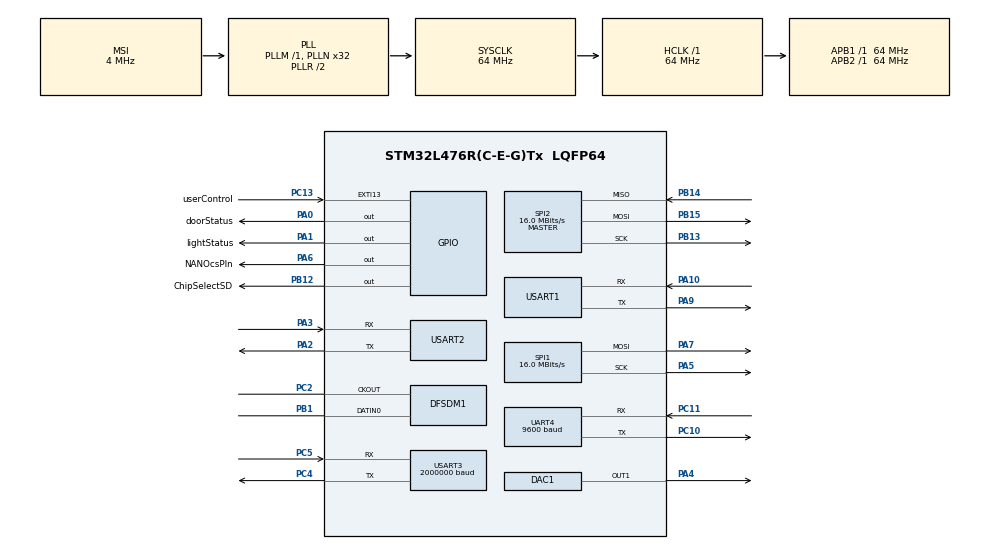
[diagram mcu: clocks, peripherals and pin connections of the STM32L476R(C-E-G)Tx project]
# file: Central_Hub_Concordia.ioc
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DFSDM1.Divider=31
DFSDM1.DmaMode_reg_FIL1=ENABLE
DFSDM1.FastMode_reg_FIL1=ENABLE
DFSDM1.Filter_regChannel_FIL0=__NULL
DFSDM1.Filter_regChannel_FIL1=DFSDM_CHANNEL_0
DFSDM1.Fosr_FIL1=125
DFSDM1.Oversampling_CH0=1
DFSDM1.RightBitShift_CH0=0x02
DFSDM1.SincOrder_FIL1=DFSDM_FILTER_SINC3_ORDER
DFSDM1.Type_spi_CH0=DFSDM_CHANNEL_SPI_RISING
Dma.DFSDM1_FLT1.0.Direction=DMA_PERIPH_TO_MEMORY
Dma.DFSDM1_FLT1.0.Instance=DMA1_Channel5
Dma.DFSDM1_FLT1.0.MemDataAlignment=DMA_MDATAALIGN_WORD
Dma.DFSDM1_FLT1.0.MemInc=DMA_MINC_ENABLE
Dma.DFSDM1_FLT1.0.Mode=DMA_CIRCULAR
Dma.DFSDM1_FLT1.0.PeriphDataAlignment=DMA_PDATAALIGN_WORD
Dma.DFSDM1_FLT1.0.PeriphInc=DMA_PINC_DISABLE
Dma.DFSDM1_FLT1.0.Priority=DMA_PRIORITY_HIGH
Dma.Request0=DFSDM1_FLT1
FATFS._MAX_SS=4096
FATFS._USE_LFN=1
Mcu.Family=STM32L4
Mcu.Name=STM32L476R(C-E-G)Tx
Mcu.Package=LQFP64
NVIC.DMA1_Channel5_IRQn=true\:0\:0\:false\:false\:true\:false\:true\:true
NVIC.EXTI15_10_IRQn=true\:2\:0\:true\:false\:true\:true\:true\:true
NVIC.PriorityGroup=NVIC_PRIORITYGROUP_4
NVIC.TIM2_IRQn=true\:0\:0\:true\:false\:true\:true\:true\:true
NVIC.TIM3_IRQn=true\:0\:0\:false\:false\:true\:true\:true\:true
NVIC.TIM6_DAC_IRQn=true\:0\:0\:false\:false\:true\:true\:true\:true
NVIC.UART4_IRQn=true\:0\:0\:false\:false\:true\:true\:true\:true
NVIC.USART1_IRQn=true\:0\:0\:false\:false\:true\:true\:true\:true
NVIC.USART3_IRQn=true\:0\:0\:false\:false\:true\:true\:true\:true
PA0.GPIO_Label=doorStatus
PA0.Signal=GPIO_Output
PA1.GPIO_Label=lightStatus
PA1.Signal=GPIO_Output
PA10.Mode=Asynchronous
PA10.Signal=USART1_RX
PA13\ (JTMS-SWDIO).Mode=Serial_Wire
PA13\ (JTMS-SWDIO).Signal=SYS_JTMS-SWDIO
PA14\ (JTCK-SWCLK).Mode=Serial_Wire
PA14\ (JTCK-SWCLK).Signal=SYS_JTCK-SWCLK
PA2.Mode=Asynchronous
PA2.Signal=USART2_TX
PA3.Mode=Asynchronous
PA3.Signal=USART2_RX
PA4.Signal=COMP_DAC11_group
PA5.Mode=TX_Only_Simplex_Unidirect_Master
PA5.Signal=SPI1_SCK
PA6.GPIO_Label=NANOcsPIn
PA6.Signal=GPIO_Output
PA7.Mode=TX_Only_Simplex_Unidirect_Master
PA7.Signal=SPI1_MOSI
PA9.Mode=Asynchronous
PA9.Signal=USART1_TX
PB1.Signal=S_DATAIN0DFSDM1
PB12.GPIO_Label=ChipSelectSD
PB12.Signal=GPIO_Output
PB13.Mode=Full_Duplex_Master
PB13.Signal=SPI2_SCK
PB14.Mode=Full_Duplex_Master
PB14.Signal=SPI2_MISO
PB15.Mode=Full_Duplex_Master
PB15.Signal=SPI2_MOSI
PC10.Mode=Asynchronous
PC10.Signal=UART4_TX
PC11.Mode=Asynchronous
PC11.Signal=UART4_RX
PC13.GPIO_Label=userControl
PC13.Signal=GPXTI13
PC2.Signal=S_CKOUTDFSDM1
PC4.Mode=Asynchronous
PC4.Signal=USART3_TX
PC5.Mode=Asynchronous
PC5.Signal=USART3_RX
PH0-OSC_IN\ (PH0).Mode=HSE-External-Oscillator
PH0-OSC_IN\ (PH0).Signal=RCC_OSC_IN
PH1-OSC_OUT\ (PH1).Mode=HSE-External-Oscillator
PH1-OSC_OUT\ (PH1).Signal=RCC_OSC_OUT
ProjectManager.HeapSize=0x200
ProjectManager.StackSize=0x5000
ProjectManager.TargetToolchain=STM32CubeIDE
RCC.AHBFreq_Value=64000000
RCC.APB1Freq_Value=64000000
RCC.APB1TimFreq_Value=64000000
RCC.APB2Freq_Value=64000000
RCC.APB2TimFreq_Value=64000000
RCC.CortexFreq_Value=64000000
RCC.HCLKFreq_Value=64000000
RCC.HSE_VALUE=8000000
RCC.HSI_VALUE=16000000
RCC.LSE_VALUE=32768
RCC.MSI_VALUE=4000000
RCC.PLLN=32
RCC.SYSCLKFreq_VALUE=64000000
RCC.SYSCLKSource=RCC_SYSCLKSOURCE_PLLCLK
RCC.VCOOutputFreq_Value=128000000
SH.COMP_DAC11_group.0=DAC1_OUT1,DAC_OUT1
SH.S_CKOUTDFSDM1.0=DFSDM1_CKOUT,PDM_SPI_input_from_ch0_and_internal_clock
SH.S_DATAIN0DFSDM1.0=DFSDM1_DATIN0,PDM_SPI_input_from_ch0_and_internal_clock
SPI1.BaudRatePrescaler=SPI_BAUDRATEPRESCALER_4
SPI1.CalculateBaudRate=16.0 MBits/s
SPI1.DataSize=SPI_DATASIZE_8BIT
SPI1.Direction=SPI_DIRECTION_2LINES
SPI1.Mode=SPI_MODE_MASTER
SPI1.VirtualType=VM_MASTER
SPI2.BaudRatePrescaler=SPI_BAUDRATEPRESCALER_4
SPI2.CalculateBaudRate=16.0 MBits/s
SPI2.DataSize=SPI_DATASIZE_8BIT
SPI2.Direction=SPI_DIRECTION_2LINES
SPI2.Mode=SPI_MODE_MASTER
SPI2.VirtualType=VM_MASTER
TIM2.Period=2000
TIM2.Prescaler=1
TIM3.Period=2500
TIM3.Prescaler=7999
UART4.BaudRate=9600
USART1.VirtualMode-Asynchronous=VM_ASYNC
USART2.VirtualMode-Asynchronous=VM_ASYNC
USART3.BaudRate=2000000
USART3.VirtualMode-Asynchronous=VM_ASYNC
VP_FATFS_VS_Generic.Mode=User_defined
VP_TIM2_VS_ClockSourceINT.Mode=Internal
VP_TIM3_VS_ClockSourceINT.Mode=Internal
board=custom

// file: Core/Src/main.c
/* USER CODE BEGIN Header */
/**
  ******************************************************************************
  * @file           : main.c
  * @brief          : Main program body
  ******************************************************************************
  * @attention
  *
  * Copyright (c) 2024 STMicroelectronics.
  * All rights reserved.
  *
  * This software is licensed under terms that can be found in the LICENSE file
  * in the root directory of this software component.
  * If no LICENSE file comes with this software, it is provided AS-IS.
  *
  ******************************************************************************
  */
/* USER CODE END Header */
#include "main.h"
#include "fatfs.h"

/* USER CODE BEGIN Includes */
#include <stdio.h>
#include <string.h>
#include <stdbool.h>
/* USER CODE END Includes */

/* USER CODE BEGIN PD */
#define ARDUINO_CS_PORT      GPIOA
#define ARDUINO_CS_PIN     GPIO_PIN_6

#define DEFAULT_STARTUP_VAL (0x80)
#define USE_DAC 1
#define RECORDING_SIZE_MIC 1000
#define DFSDM_BUFFER_SIZE 1000
#define AUDIO_BUFFER_SIZE 1000
#define HEADER_SIZE 44

#define MAX_RECORDING_LENGTH 128044

#define SaturaLH(N, L, H) (((N)<(L))?(L):(((N)>(H))?(H):(N)))
/* USER CODE END PD */

DAC_HandleTypeDef hdac1;

DFSDM_Filter_HandleTypeDef hdfsdm1_filter1;
DFSDM_Channel_HandleTypeDef hdfsdm1_channel0;
DMA_HandleTypeDef hdma_dfsdm1_flt1;

SPI_HandleTypeDef hspi1;
SPI_HandleTypeDef hspi2;

TIM_HandleTypeDef htim3;

UART_HandleTypeDef huart4;
UART_HandleTypeDef huart1;
UART_HandleTypeDef huart2;
UART_HandleTypeDef huart3;

/* USER CODE BEGIN PV */
// General Program
int error = 0;

// Microphone
int recording_audio = 0;
int finished_recording = 0;
int16_t recording[RECORDING_SIZE_MIC];
int32_t dfsdm_buffer[DFSDM_BUFFER_SIZE * 2];

int mic_transfer_complete = 0;
int mic_half_transfer = 0;
int transfer_position = 0;
int start_recording_process = 0;

uint8_t header_data[] = {
    0x52, 0x49, 0x46, 0x46, 0x24, 0xE8, 0x03, 0x00,
    0x57, 0x41, 0x56, 0x45, 0x66, 0x6D, 0x74, 0x20,
    0x10, 0x00, 0x00, 0x00, 0x01, 0x00, 0x01, 0x00,
    0x80, 0x3E, 0x00, 0x00, 0x00, 0x7D, 0x00, 0x00,
    0x02, 0x00, 0x10, 0x00, 0x64, 0x61, 0x74, 0x61,
    0x00, 0xE8, 0x03, 0x00
};

int bytes_written_to_file = 0;
// AudioPlayback
int audio_playing = 0;
int audio_position = 44;
int song_length = 0;
int song_length_total = 0;
int buffer_half = 0;
int buffer_complete = 0;
int samples_played = 44;

int16_t playback_buffer[AUDIO_BUFFER_SIZE*2];

char *recordingPath = "";
char *LIGHTONAUDIO = "/sounds/light_on.wav";
char *LIGHTOFFAUDIO = "/sounds/light_off.wav";
char *DOOROPENAUDIO = "/sounds/door_open.wav";
char *DOORCLOSEAUDIO = "/sounds/door_close.wav";
char *MICON = "/sounds/listen_on.wav";
char *MICOFF = "/sounds/stop_listen.wav";

start_playback_process = 0;

UINT bytesRead;
UINT bytesWritten;
UINT bytes_to_read = AUDIO_BUFFER_SIZE * 2;
UINT bytes_to_record = RECORDING_SIZE_MIC * 2;

//SD Card Variables
FATFS       FatFs;
FRESULT     fres;
FIL 		file;
uint32_t 	totalSpace, freeSpace;
BYTE* 		loaded_song;

//UART Variables
uint8_t data[64];
int data_ready = 0;

/* USER CODE END PV */

void SystemClock_Config(void);
static void MX_GPIO_Init(void);
static void MX_DMA_Init(void);
static void MX_SPI2_Init(void);
static void MX_USART2_UART_Init(void);
static void MX_DAC1_Init(void);
static void MX_TIM2_Init(void);
static void MX_TIM3_Init(void);
static void MX_UART4_Init(void);
static void MX_USART3_UART_Init(void);
static void MX_USART1_UART_Init(void);
static void MX_DFSDM1_Init(void);
static void MX_SPI1_Init(void);
/* USER CODE BEGIN PFP */
void HAL_DFSDM_FilterRegConvHalfCpltCallback(DFSDM_Filter_HandleTypeDef *hdfsdm_filter);
void HAL_DFSDM_FilterRegConvCpltCallback(DFSDM_Filter_HandleTypeDef *hdfsdm_filter);
void HAL_UARTEx_RxEventCallback(UART_HandleTypeDef *huart, uint16_t Size);
void HAL_GPIO_EXTI_Callback(uint16_t GPIO_Pin);
/* USER CODE END PFP */

/* USER CODE BEGIN 0 */
void start_recording_from_mic(){
	if (!recording_audio){
		printf("Starting Recording Process\r\n");
		if (f_open(&file, "recording1.wav", FA_WRITE | FA_CREATE_ALWAYS) != FR_OK) {
			printf("Error opening file for writing.\n\r");
		}
		if (f_write(&file, header_data, sizeof(header_data), &bytesWritten) != FR_OK) {
			printf("Error writing header to file.\n");
		}
		recording_audio = 1;
		start_recording_process = 0;
	}
}
void start_audio_playback(){
	if (!audio_playing){
		open_SD_card_song(recordingPath);
		read_SD_card_song_initial();
		printf("Starting Playback \r\n");
		audio_playing = 1;
		start_playback_process = 0;
		song_length_total = song_length;
		LL_TIM_EnableIT_UPDATE(TIM2);
		LL_TIM_EnableCounter(TIM2);
		NVIC_EnableIRQ(TIM2_IRQn);
	}
}
void mount_SD_card(void){

    //Mount the SD Card
	fres = f_mount(&FatFs, "", 1);    //1=mount now
	if (fres != FR_OK){
		printf("No SD Card found : (%i)\r\n", fres);
        return;
	}
	printf("SD Card Mounted Successfully\r\n");

    //Read the SD Card Total size and Free Size
    FATFS *pfs;
    DWORD fre_clust;

    f_getfree("", &fre_clust, &pfs);
    totalSpace = (uint32_t)((pfs->n_fatent - 2) * pfs->csize * 0.5);
    freeSpace = (uint32_t)(fre_clust * pfs->csize * 0.5);

    printf("TotalSpace : %lu bytes, FreeSpace = %lu bytes\r\n", totalSpace, freeSpace);

}

void unmount_SD_card(void){
	f_mount(NULL, "", 0);
	printf("SD Card Unmounted Successfully\r\n");
}

void read_SD_card_song_initial(){
    if (f_read(&file, &playback_buffer[0], AUDIO_BUFFER_SIZE*2*2, &bytesRead) == FR_OK) {
            // Check if the expected number of bytes were read
    	if (bytesRead == AUDIO_BUFFER_SIZE*2*2) {
            	printf("Audio Loaded, %d bytes.\r\n", bytesRead);
            	audio_position += AUDIO_BUFFER_SIZE*2*2;
    	} else {
                // Handle the case where not all bytes were read
    	}
	}

}

void read_SD_card_song_at_position(int buffer_position){
	if ( audio_position + AUDIO_BUFFER_SIZE * 2 <= song_length_total){
		if (f_read(&file, &playback_buffer[buffer_position], bytes_to_read, &bytesRead) == FR_OK) {
						// Check if the expected number of bytes were read
			if (bytesRead == AUDIO_BUFFER_SIZE * 2) {
				audio_position += AUDIO_BUFFER_SIZE*2;
				//printf("Audio_position: %d\r\n", audio_position);
			} else {
							// Handle the case where not all bytes were read
			}
		}
	}
}

void open_SD_card_song(const char *mypath){

	FILINFO fileInfo;
	const TCHAR *songpath = _T(mypath);

	fres = f_open(&file, songpath, FA_READ);
	if (fres != FR_OK) {
		printf("Failed opening file\r\n");
		return;
	}

    fres = f_stat(songpath, &fileInfo);
    if (fres == FR_OK) {
        // Print file size
    	printf("File size: %lu bytes\r\n", fileInfo.fsize);
    	song_length = fileInfo.fsize;
    }
    printf("path: %s\r\n", songpath);

}

void close_SD_card_song(void){
	fres = f_close(&file);
	if (fres != FR_OK) {
		return;
	}
}

/* USER CODE END 0 */

int main(void)
{

  /* MCU Configuration--------------------------------------------------------*/

  /* Reset of all peripherals, Initializes the Flash interface and the Systick. */
  HAL_Init();

  /* Configure the system clock */
  SystemClock_Config();

  /* Initialize all configured peripherals */
  MX_GPIO_Init();
  MX_DMA_Init();
  MX_SPI2_Init();
  MX_USART2_UART_Init();
  MX_FATFS_Init();
  MX_DAC1_Init();
  MX_TIM2_Init();
  MX_TIM3_Init();
  MX_UART4_Init();
  MX_USART3_UART_Init();
  MX_USART1_UART_Init();
  MX_DFSDM1_Init();
  MX_SPI1_Init();
  /* USER CODE BEGIN 2 */

  // UART Interrupt Init
  // LIGHT
  HAL_UARTEx_ReceiveToIdle_IT(&huart4, data, 64);

  // DOOR
  HAL_UARTEx_ReceiveToIdle_IT(&huart3, data, 64);

  HAL_UARTEx_ReceiveToIdle_IT(&huart1, data, 64);

  // set status of light to off on start (Opposite than LED due to relay)
  HAL_GPIO_WritePin(lightStatus_GPIO_Port, lightStatus_Pin, GPIO_PIN_SET);
  HAL_GPIO_WritePin(doorStatus_GPIO_Port, doorStatus_Pin, GPIO_PIN_SET);

  /* USER CODE END 2 */

  /* Infinite loop */
  /* USER CODE BEGIN WHILE */
  /* Initilize SD Card and Play start up Sound*/

  mount_SD_card();

  HAL_DAC_Start(&hdac1, DAC_CHANNEL_1);
  HAL_DAC_SetValue(&hdac1, DAC_CHANNEL_1, DAC_ALIGN_12B_R, 0x7FF);

  if (HAL_DFSDM_FilterRegularStart_DMA(&hdfsdm1_filter1,dfsdm_buffer,DFSDM_BUFFER_SIZE * 2) != HAL_OK){
	  printf("Failed to start DFSDM");
  }

  while (1){
    /* USER CODE END WHILE */

    /* USER CODE BEGIN 3 */
	  if (start_playback_process && !audio_playing){
		  start_audio_playback();
	  }
	  if (start_recording_process && !start_playback_process && !audio_playing){
		  start_recording_from_mic();
	  }
	  if (recording_audio){
		  /*
		  if ((transfer_position == RECORDING_SIZE_MIC)){
			  __HAL_DMA_DISABLE(&hdma_dfsdm1_flt1);

			  printf("\r\n\n");
			  for (int i = 0; i < RECORDING_SIZE_MIC; i++){
				  printf("%04X ", ((recording[i] & 0xFF) << 8) | ((recording[i] >> 8) & 0xFF));
			  }
			  printf("\r\n\n");

			  return 1;
		  }
		  */
		  if (finished_recording || bytes_written_to_file >= MAX_RECORDING_LENGTH){
			  printf("Finished Recording Audio\r\n");
			  recording_audio = 0;
			  finished_recording = 0;
			  mic_half_transfer = 0;
			  mic_transfer_complete = 0;
			  bytes_written_to_file = 0;
			  f_close(&file);

			  HAL_UART_Transmit(&huart3, header_data, HEADER_SIZE, HAL_MAX_DELAY);
			  int bytes_read = 44;
			  uint8_t block[10000];
			  open_SD_card_song("recording1.wav");
			  while (bytes_read < 128044){
				  if (f_read(&file, &block[0], 10000, &bytesRead) == FR_OK) {
				 	HAL_UART_Transmit(&huart3, block, 10000, HAL_MAX_DELAY);
				 	//printf("Sent Data to Arduino\r\n");
				 	bytes_read += 10000;
				  }
			  }
			  f_close(&file);
		  }
		  if(mic_half_transfer){
			  for (int i = 0; i < DFSDM_BUFFER_SIZE; i++){
				  recording[i] = SaturaLH((dfsdm_buffer[i] >> 8), -32768, 32767);
			  }
			  if (f_write(&file, recording, bytes_to_record, &bytesWritten) != FR_OK) {
				  printf("Error Writing To File 1.\n");
				  f_close(&file);
				  return 1;
			  }
			  bytes_written_to_file+= DFSDM_BUFFER_SIZE * 2;
			  mic_half_transfer = 0;
		  }
		  else if (mic_transfer_complete){
			  for (int i = DFSDM_BUFFER_SIZE; i < DFSDM_BUFFER_SIZE * 2; i++){
				  recording[i - DFSDM_BUFFER_SIZE] = SaturaLH((dfsdm_buffer[i] >> 8), -32768, 32767);
			  }
			  if (f_write(&file, recording, bytes_to_record, &bytesWritten) != FR_OK) {
				  printf("Error Writing to File 2.\n");
				  f_close(&file);
				  return 1;
			  }
			  bytes_written_to_file+= DFSDM_BUFFER_SIZE * 2;
			  mic_transfer_complete = 0;
		  }
	  }
	  if (audio_playing){
		  if (audio_position >= song_length_total - AUDIO_BUFFER_SIZE * 2){
			  NVIC_DisableIRQ(TIM2_IRQn);
			  LL_TIM_DisableCounter(TIM2);
			  printf("Song Finished at %d\r\n", audio_position);
			  f_close(&file);
			  audio_playing = 0;
			  audio_position = 44;
			  samples_played = 44;
			  buffer_half = 0;
			  buffer_complete = 0;
		  }
		  if (buffer_half){
			  read_SD_card_song_at_position(0);
			  buffer_half = 0;
		  }
		  if (buffer_complete){
			  read_SD_card_song_at_position(AUDIO_BUFFER_SIZE);
			  buffer_complete = 0;
		  }
	  }
	  if (error){
		  printf("There has been an error\r\n Terminating Program\r\n");
		  unmount_SD_card();
		  return -1;
	  }

  }
  unmount_SD_card();
  /* USER CODE END 3 */
}

void SystemClock_Config(void)
{
  RCC_OscInitTypeDef RCC_OscInitStruct = {0};
  RCC_ClkInitTypeDef RCC_ClkInitStruct = {0};

  /** Configure the main internal regulator output voltage
  */
  if (HAL_PWREx_ControlVoltageScaling(PWR_REGULATOR_VOLTAGE_SCALE1) != HAL_OK)
  {
    Error_Handler();
  }

  /** Initializes the RCC Oscillators according to the specified parameters
  * in the RCC_OscInitTypeDef structure.
  */
  RCC_OscInitStruct.OscillatorType = RCC_OSCILLATORTYPE_MSI;
  RCC_OscInitStruct.MSIState = RCC_MSI_ON;
  RCC_OscInitStruct.MSICalibrationValue = 0;
  RCC_OscInitStruct.MSIClockRange = RCC_MSIRANGE_6;
  RCC_OscInitStruct.PLL.PLLState = RCC_PLL_ON;
  RCC_OscInitStruct.PLL.PLLSource = RCC_PLLSOURCE_MSI;
  RCC_OscInitStruct.PLL.PLLM = 1;
  RCC_OscInitStruct.PLL.PLLN = 32;
  RCC_OscInitStruct.PLL.PLLP = RCC_PLLP_DIV7;
  RCC_OscInitStruct.PLL.PLLQ = RCC_PLLQ_DIV2;
  RCC_OscInitStruct.PLL.PLLR = RCC_PLLR_DIV2;
  if (HAL_RCC_OscConfig(&RCC_OscInitStruct) != HAL_OK)
  {
    Error_Handler();
  }

  /** Initializes the CPU, AHB and APB buses clocks
  */
  RCC_ClkInitStruct.ClockType = RCC_CLOCKTYPE_HCLK|RCC_CLOCKTYPE_SYSCLK
                              |RCC_CLOCKTYPE_PCLK1|RCC_CLOCKTYPE_PCLK2;
  RCC_ClkInitStruct.SYSCLKSource = RCC_SYSCLKSOURCE_PLLCLK;
  RCC_ClkInitStruct.AHBCLKDivider = RCC_SYSCLK_DIV1;
  RCC_ClkInitStruct.APB1CLKDivider = RCC_HCLK_DIV1;
  RCC_ClkInitStruct.APB2CLKDivider = RCC_HCLK_DIV1;

  if (HAL_RCC_ClockConfig(&RCC_ClkInitStruct, FLASH_LATENCY_3) != HAL_OK)
  {
    Error_Handler();
  }
}

static void MX_DAC1_Init(void)
{

  DAC_ChannelConfTypeDef sConfig = {0};

  /** DAC Initialization
  */
  hdac1.Instance = DAC1;
  if (HAL_DAC_Init(&hdac1) != HAL_OK)
  {
    Error_Handler();
  }

  /** DAC channel OUT1 config
  */
  sConfig.DAC_SampleAndHold = DAC_SAMPLEANDHOLD_DISABLE;
  sConfig.DAC_Trigger = DAC_TRIGGER_NONE;
  sConfig.DAC_OutputBuffer = DAC_OUTPUTBUFFER_ENABLE;
  sConfig.DAC_ConnectOnChipPeripheral = DAC_CHIPCONNECT_DISABLE;
  sConfig.DAC_UserTrimming = DAC_TRIMMING_FACTORY;
  if (HAL_DAC_ConfigChannel(&hdac1, &sConfig, DAC_CHANNEL_1) != HAL_OK)
  {
    Error_Handler();
  }

}

static void MX_DFSDM1_Init(void)
{

  hdfsdm1_filter1.Instance = DFSDM1_Filter1;
  hdfsdm1_filter1.Init.RegularParam.Trigger = DFSDM_FILTER_SW_TRIGGER;
  hdfsdm1_filter1.Init.RegularParam.FastMode = ENABLE;
  hdfsdm1_filter1.Init.RegularParam.DmaMode = ENABLE;
  hdfsdm1_filter1.Init.FilterParam.SincOrder = DFSDM_FILTER_SINC3_ORDER;
  hdfsdm1_filter1.Init.FilterParam.Oversampling = 125;
  hdfsdm1_filter1.Init.FilterParam.IntOversampling = 1;
  if (HAL_DFSDM_FilterInit(&hdfsdm1_filter1) != HAL_OK)
  {
    Error_Handler();
  }
  hdfsdm1_channel0.Instance = DFSDM1_Channel0;
  hdfsdm1_channel0.Init.OutputClock.Activation = ENABLE;
  hdfsdm1_channel0.Init.OutputClock.Selection = DFSDM_CHANNEL_OUTPUT_CLOCK_SYSTEM;
  hdfsdm1_channel0.Init.OutputClock.Divider = 31;
  hdfsdm1_channel0.Init.Input.Multiplexer = DFSDM_CHANNEL_EXTERNAL_INPUTS;
  hdfsdm1_channel0.Init.Input.DataPacking = DFSDM_CHANNEL_STANDARD_MODE;
  hdfsdm1_channel0.Init.Input.Pins = DFSDM_CHANNEL_SAME_CHANNEL_PINS;
  hdfsdm1_channel0.Init.SerialInterface.Type = DFSDM_CHANNEL_SPI_RISING;
  hdfsdm1_channel0.Init.SerialInterface.SpiClock = DFSDM_CHANNEL_SPI_CLOCK_INTERNAL;
  hdfsdm1_channel0.Init.Awd.FilterOrder = DFSDM_CHANNEL_FASTSINC_ORDER;
  hdfsdm1_channel0.Init.Awd.Oversampling = 1;
  hdfsdm1_channel0.Init.Offset = 0;
  hdfsdm1_channel0.Init.RightBitShift = 0x02;
  if (HAL_DFSDM_ChannelInit(&hdfsdm1_channel0) != HAL_OK)
  {
    Error_Handler();
  }
  if (HAL_DFSDM_FilterConfigRegChannel(&hdfsdm1_filter1, DFSDM_CHANNEL_0, DFSDM_CONTINUOUS_CONV_ON) != HAL_OK)
  {
    Error_Handler();
  }

}

static void MX_SPI1_Init(void)
{

  /* SPI1 parameter configuration*/
  hspi1.Instance = SPI1;
  hspi1.Init.Mode = SPI_MODE_MASTER;
  hspi1.Init.Direction = SPI_DIRECTION_2LINES;
  hspi1.Init.DataSize = SPI_DATASIZE_8BIT;
  hspi1.Init.CLKPolarity = SPI_POLARITY_LOW;
  hspi1.Init.CLKPhase = SPI_PHASE_1EDGE;
  hspi1.Init.NSS = SPI_NSS_SOFT;
  hspi1.Init.BaudRatePrescaler = SPI_BAUDRATEPRESCALER_4;
  hspi1.Init.FirstBit = SPI_FIRSTBIT_MSB;
  hspi1.Init.TIMode = SPI_TIMODE_DISABLE;
  hspi1.Init.CRCCalculation = SPI_CRCCALCULATION_DISABLE;
  hspi1.Init.CRCPolynomial = 7;
  hspi1.Init.CRCLength = SPI_CRC_LENGTH_DATASIZE;
  hspi1.Init.NSSPMode = SPI_NSS_PULSE_ENABLE;
  if (HAL_SPI_Init(&hspi1) != HAL_OK)
  {
    Error_Handler();
  }

}

static void MX_SPI2_Init(void)
{

  /* SPI2 parameter configuration*/
  hspi2.Instance = SPI2;
  hspi2.Init.Mode = SPI_MODE_MASTER;
  hspi2.Init.Direction = SPI_DIRECTION_2LINES;
  hspi2.Init.DataSize = SPI_DATASIZE_8BIT;
  hspi2.Init.CLKPolarity = SPI_POLARITY_LOW;
  hspi2.Init.CLKPhase = SPI_PHASE_1EDGE;
  hspi2.Init.NSS = SPI_NSS_SOFT;
  hspi2.Init.BaudRatePrescaler = SPI_BAUDRATEPRESCALER_4;
  hspi2.Init.FirstBit = SPI_FIRSTBIT_MSB;
  hspi2.Init.TIMode = SPI_TIMODE_DISABLE;
  hspi2.Init.CRCCalculation = SPI_CRCCALCULATION_DISABLE;
  hspi2.Init.CRCPolynomial = 7;
  hspi2.Init.CRCLength = SPI_CRC_LENGTH_DATASIZE;
  hspi2.Init.NSSPMode = SPI_NSS_PULSE_ENABLE;
  if (HAL_SPI_Init(&hspi2) != HAL_OK)
  {
    Error_Handler();
  }

}

static void MX_TIM2_Init(void)
{

  LL_TIM_InitTypeDef TIM_InitStruct = {0};

  /* Peripheral clock enable */
  LL_APB1_GRP1_EnableClock(LL_APB1_GRP1_PERIPH_TIM2);

  /* TIM2 interrupt Init */
  NVIC_SetPriority(TIM2_IRQn, NVIC_EncodePriority(NVIC_GetPriorityGrouping(),0, 0));
  NVIC_EnableIRQ(TIM2_IRQn);

  TIM_InitStruct.Prescaler = 1;
  TIM_InitStruct.CounterMode = LL_TIM_COUNTERMODE_UP;
  TIM_InitStruct.Autoreload = 2000;
  TIM_InitStruct.ClockDivision = LL_TIM_CLOCKDIVISION_DIV1;
  LL_TIM_Init(TIM2, &TIM_InitStruct);
  LL_TIM_DisableARRPreload(TIM2);
  LL_TIM_SetClockSource(TIM2, LL_TIM_CLOCKSOURCE_INTERNAL);
  LL_TIM_SetTriggerOutput(TIM2, LL_TIM_TRGO_RESET);
  LL_TIM_DisableMasterSlaveMode(TIM2);

}

static void MX_TIM3_Init(void)
{

  TIM_ClockConfigTypeDef sClockSourceConfig = {0};
  TIM_MasterConfigTypeDef sMasterConfig = {0};

  htim3.Instance = TIM3;
  htim3.Init.Prescaler = 7999;
  htim3.Init.CounterMode = TIM_COUNTERMODE_UP;
  htim3.Init.Period = 2500;
  htim3.Init.ClockDivision = TIM_CLOCKDIVISION_DIV1;
  htim3.Init.AutoReloadPreload = TIM_AUTORELOAD_PRELOAD_DISABLE;
  if (HAL_TIM_Base_Init(&htim3) != HAL_OK)
  {
    Error_Handler();
  }
  sClockSourceConfig.ClockSource = TIM_CLOCKSOURCE_INTERNAL;
  if (HAL_TIM_ConfigClockSource(&htim3, &sClockSourceConfig) != HAL_OK)
  {
    Error_Handler();
  }
  sMasterConfig.MasterOutputTrigger = TIM_TRGO_RESET;
  sMasterConfig.MasterSlaveMode = TIM_MASTERSLAVEMODE_DISABLE;
  if (HAL_TIMEx_MasterConfigSynchronization(&htim3, &sMasterConfig) != HAL_OK)
  {
    Error_Handler();
  }

}

static void MX_UART4_Init(void)
{

  huart4.Instance = UART4;
  huart4.Init.BaudRate = 9600;
  huart4.Init.WordLength = UART_WORDLENGTH_8B;
  huart4.Init.StopBits = UART_STOPBITS_1;
  huart4.Init.Parity = UART_PARITY_NONE;
  huart4.Init.Mode = UART_MODE_TX_RX;
  huart4.Init.HwFlowCtl = UART_HWCONTROL_NONE;
  huart4.Init.OverSampling = UART_OVERSAMPLING_16;
  huart4.Init.OneBitSampling = UART_ONE_BIT_SAMPLE_DISABLE;
  huart4.AdvancedInit.AdvFeatureInit = UART_ADVFEATURE_NO_INIT;
  if (HAL_UART_Init(&huart4) != HAL_OK)
  {
    Error_Handler();
  }

}

static void MX_USART1_UART_Init(void)
{

  huart1.Instance = USART1;
  huart1.Init.BaudRate = 115200;
  huart1.Init.WordLength = UART_WORDLENGTH_8B;
  huart1.Init.StopBits = UART_STOPBITS_1;
  huart1.Init.Parity = UART_PARITY_NONE;
  huart1.Init.Mode = UART_MODE_TX_RX;
  huart1.Init.HwFlowCtl = UART_HWCONTROL_NONE;
  huart1.Init.OverSampling = UART_OVERSAMPLING_16;
  huart1.Init.OneBitSampling = UART_ONE_BIT_SAMPLE_DISABLE;
  huart1.AdvancedInit.AdvFeatureInit = UART_ADVFEATURE_NO_INIT;
  if (HAL_UART_Init(&huart1) != HAL_OK)
  {
    Error_Handler();
  }

}

static void MX_USART2_UART_Init(void)
{

  huart2.Instance = USART2;
  huart2.Init.BaudRate = 115200;
  huart2.Init.WordLength = UART_WORDLENGTH_8B;
  huart2.Init.StopBits = UART_STOPBITS_1;
  huart2.Init.Parity = UART_PARITY_NONE;
  huart2.Init.Mode = UART_MODE_TX_RX;
  huart2.Init.HwFlowCtl = UART_HWCONTROL_NONE;
  huart2.Init.OverSampling = UART_OVERSAMPLING_16;
  huart2.Init.OneBitSampling = UART_ONE_BIT_SAMPLE_DISABLE;
  huart2.AdvancedInit.AdvFeatureInit = UART_ADVFEATURE_NO_INIT;
  if (HAL_UART_Init(&huart2) != HAL_OK)
  {
    Error_Handler();
  }

}

static void MX_USART3_UART_Init(void)
{

  huart3.Instance = USART3;
  huart3.Init.BaudRate = 2000000;
  huart3.Init.WordLength = UART_WORDLENGTH_8B;
  huart3.Init.StopBits = UART_STOPBITS_1;
  huart3.Init.Parity = UART_PARITY_NONE;
  huart3.Init.Mode = UART_MODE_TX_RX;
  huart3.Init.HwFlowCtl = UART_HWCONTROL_NONE;
  huart3.Init.OverSampling = UART_OVERSAMPLING_16;
  huart3.Init.OneBitSampling = UART_ONE_BIT_SAMPLE_DISABLE;
  huart3.AdvancedInit.AdvFeatureInit = UART_ADVFEATURE_NO_INIT;
  if (HAL_UART_Init(&huart3) != HAL_OK)
  {
    Error_Handler();
  }

}

static void MX_DMA_Init(void)
{

  /* DMA controller clock enable */
  __HAL_RCC_DMA1_CLK_ENABLE();

  /* DMA interrupt init */
  /* DMA1_Channel5_IRQn interrupt configuration */
  HAL_NVIC_SetPriority(DMA1_Channel5_IRQn, 0, 0);
  HAL_NVIC_EnableIRQ(DMA1_Channel5_IRQn);

}

static void MX_GPIO_Init(void)
{
  GPIO_InitTypeDef GPIO_InitStruct = {0};

  /* GPIO Ports Clock Enable */
  __HAL_RCC_GPIOC_CLK_ENABLE();
  __HAL_RCC_GPIOH_CLK_ENABLE();
  __HAL_RCC_GPIOA_CLK_ENABLE();
  __HAL_RCC_GPIOB_CLK_ENABLE();

  /*Configure GPIO pin Output Level */
  HAL_GPIO_WritePin(GPIOA, doorStatus_Pin|lightStatus_Pin|NANOcsPIn_Pin, GPIO_PIN_RESET);

  /*Configure GPIO pin Output Level */
  HAL_GPIO_WritePin(ChipSelectSD_GPIO_Port, ChipSelectSD_Pin, GPIO_PIN_RESET);

  /*Configure GPIO pin : userControl_Pin */
  GPIO_InitStruct.Pin = userControl_Pin;
  GPIO_InitStruct.Mode = GPIO_MODE_IT_RISING;
  GPIO_InitStruct.Pull = GPIO_NOPULL;
  HAL_GPIO_Init(userControl_GPIO_Port, &GPIO_InitStruct);

  /*Configure GPIO pins : doorStatus_Pin lightStatus_Pin NANOcsPIn_Pin */
  GPIO_InitStruct.Pin = doorStatus_Pin|lightStatus_Pin|NANOcsPIn_Pin;
  GPIO_InitStruct.Mode = GPIO_MODE_OUTPUT_PP;
  GPIO_InitStruct.Pull = GPIO_NOPULL;
  GPIO_InitStruct.Speed = GPIO_SPEED_FREQ_LOW;
  HAL_GPIO_Init(GPIOA, &GPIO_InitStruct);

  /*Configure GPIO pin : ChipSelectSD_Pin */
  GPIO_InitStruct.Pin = ChipSelectSD_Pin;
  GPIO_InitStruct.Mode = GPIO_MODE_OUTPUT_PP;
  GPIO_InitStruct.Pull = GPIO_NOPULL;
  GPIO_InitStruct.Speed = GPIO_SPEED_FREQ_LOW;
  HAL_GPIO_Init(ChipSelectSD_GPIO_Port, &GPIO_InitStruct);

  /* EXTI interrupt init*/
  HAL_NVIC_SetPriority(EXTI15_10_IRQn, 2, 0);
  HAL_NVIC_EnableIRQ(EXTI15_10_IRQn);

}

/* USER CODE BEGIN 4 */
/**
  * @brief  Regular conversion complete callback.
  * @note   In interrupt mode, user has to read conversion value in this function
            using HAL_DFSDM_FilterGetRegularValue.
  * @param  hdfsdm_filter : DFSDM filter handle.
  * @retval None
  */
#ifdef __GNUC__
  /* With GCC, small printf (option LD Linker->Libraries->Small printf
     set to 'Yes') calls __io_putchar() */
int __io_putchar(int ch)
#else
int fputc(int ch, FILE *f)
#endif /* __GNUC__ */
{
  /* Place your implementation of fputc here */
  /* e.g. write a character to the UART3 and Loop until the end of transmission */
  HAL_UART_Transmit(&huart2, (uint8_t *)&ch, 1, HAL_MAX_DELAY);
  return ch;
}

void HAL_GPIO_EXTI_Callback(uint16_t GPIO_Pin){
	/*
	if (!audio_playing){
	  open_SD_card_song(recordingPath);
	  read_SD_card_song_initial();
	  printf("Starting Playback \r\n");
	  audio_playing = 1;
	  song_length_total = song_length;
	  LL_TIM_EnableIT_UPDATE(TIM2);
	  LL_TIM_EnableCounter(TIM2);
	  NVIC_EnableIRQ(TIM2_IRQn);
	}
	*/

/*
	HAL_GPIO_WritePin(ARDUINO_CS_PORT, ARDUINO_CS_PIN, GPIO_PIN_RESET);
	if (HAL_SPI_Transmit(&hspi1, header_data, HEADER_SIZE, HAL_MAX_DELAY) != HAL_OK){
		printf("SPI Transfer Failed\r\n");
		HAL_GPIO_WritePin(ARDUINO_CS_PORT, ARDUINO_CS_PIN, GPIO_PIN_SET);
		error = 1;
	} else {
		printf("Sent message\r\n");
		HAL_GPIO_WritePin(ARDUINO_CS_PORT, ARDUINO_CS_PIN, GPIO_PIN_SET);
	}
*/
}

void HAL_DFSDM_FilterRegConvHalfCpltCallback(DFSDM_Filter_HandleTypeDef *hdfsdm_filter)
{
	if (recording_audio){
		mic_half_transfer = 1;
	}

}
void HAL_DFSDM_FilterRegConvCpltCallback(DFSDM_Filter_HandleTypeDef *hdfsdm_filter)
{
	if( recording_audio){
		mic_transfer_complete = 1;
	}
}

void HAL_UARTEx_RxEventCallback(UART_HandleTypeDef *huart, uint16_t Size){
	if (strncmp((char*)data, "MIC_ON", strlen("MIC_ON")) == 0) {
		printf("MIC_ON\r\n");
		recordingPath = MICON;
		start_playback_process = 1;
		start_recording_process = 1;
	}
	if (strncmp((char*)data, "LIGHT_ON", strlen("LIGHT_ON")) == 0) {
		printf("LIGHT_ON\r\n");
		recordingPath = LIGHTONAUDIO;
		start_playback_process = 1;
	}
	if (strncmp((char*)data, "LIGHT_OFF", strlen("LIGHT_OFF")) == 0) {
		printf("LIGHT_OFF\r\n");
		recordingPath = LIGHTOFFAUDIO;
		start_playback_process = 1;
	}
	if (strncmp((char*)data, "DOOR_OPEN", strlen("DOOR_OPEN")) == 0) {
		printf("DOOR_OPEN\r\n");
		recordingPath = DOOROPENAUDIO;
		start_playback_process = 1;
	}
	if (strncmp((char*)data, "DOOR_CLOSE", strlen("DOOR_CLOSE")) == 0) {
		printf("DOOR_CLOSE\r\n");
		recordingPath = DOORCLOSEAUDIO;
		start_playback_process = 1;
	}
	HAL_UARTEx_ReceiveToIdle_IT(huart, data, 64);
}
/* USER CODE END 4 */

void Error_Handler(void)
{
  __disable_irq();
  while (1)
  {
  }
}
